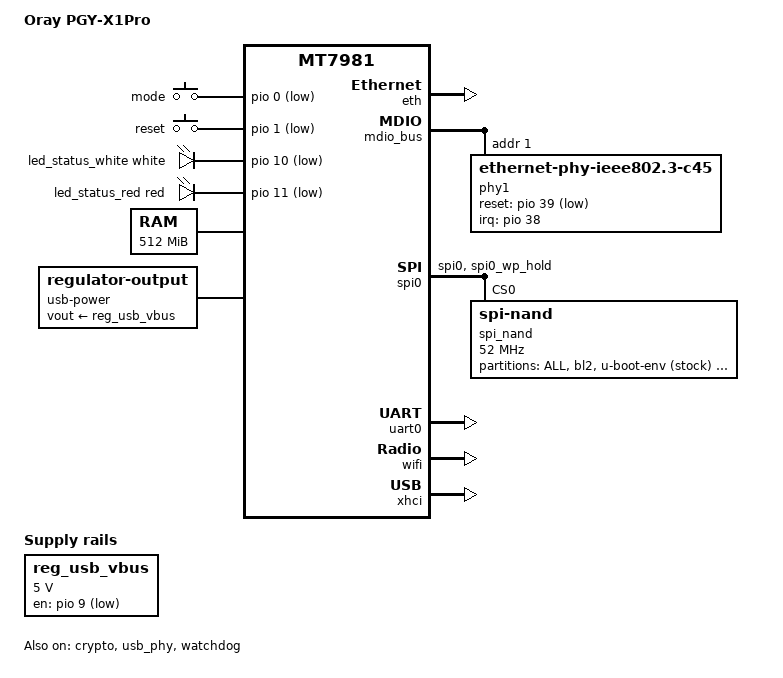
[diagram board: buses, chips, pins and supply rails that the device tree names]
// SPDX-License-Identifier: GPL-2.0-only OR MIT

/dts-v1/;
#include <dt-bindings/gpio/gpio.h>
#include <dt-bindings/input/input.h>
#include <dt-bindings/leds/common.h>

#include "mt7981b.dtsi"

/ {
	model = "Oray PGY-X1Pro";
	compatible = "oray,pgy-x1pro", "mediatek,mt7981";

	aliases {
		label-mac-device = &gmac1;

		led-boot = &led_status_red;
		led-failsafe = &led_status_red;
		led-running = &led_status_white;
		led-upgrade = &led_status_red;

		serial0 = &uart0;
	};

	chosen {
		stdout-path = "serial0:115200n8";
		bootargs = "root=/dev/fit0 rootwait";
		rootdisk = <&ubi_fit>;
	};

	gpio-keys {
		compatible = "gpio-keys";

		button-0 {
			label = "mode";
			linux,code = <BTN_0>;
			linux,input-type = <EV_SW>;
			gpios = <&pio 0 GPIO_ACTIVE_LOW>;
			debounce-interval = <60>;
		};

		button-1 {
			label = "reset";
			linux,code = <KEY_RESTART>;
			gpios = <&pio 1 GPIO_ACTIVE_LOW>;
			debounce-interval = <60>;
		};
	};

	leds {
		compatible = "gpio-leds";

		led_status_white: led-0 {
			function = LED_FUNCTION_STATUS;
			color = <LED_COLOR_ID_WHITE>;
			gpios = <&pio 10 GPIO_ACTIVE_LOW>;
		};

		led_status_red: led-1 {
			function = LED_FUNCTION_STATUS;
			color = <LED_COLOR_ID_RED>;
			gpios = <&pio 11 GPIO_ACTIVE_LOW>;
		};
	};

	memory@40000000 {
		reg = <0 0x40000000 0 0x20000000>;
		device_type = "memory";
	};

	reg_usb_vbus: regulator-usb {
		compatible = "regulator-fixed";
		regulator-boot-on;
		regulator-min-microvolt = <5000000>;
		regulator-max-microvolt = <5000000>;
		regulator-name = "usb-vbus";
		gpios = <&pio 9 GPIO_ACTIVE_LOW>;
	};

	usb-power {
		compatible = "regulator-output";
		vout-supply = <&reg_usb_vbus>;
	};
};

&crypto {
	status = "okay";
};

&eth {
	status = "okay";
	pinctrl-names = "default";
	pinctrl-0 = <&mdio_pins>;

	gmac0: mac@0 {
		compatible = "mediatek,eth-mac";
		reg = <0>;
		phy-mode = "2500base-x";
		phy-handle = <&phy1>;
		nvmem-cell-names = "mac-address";
		nvmem-cells = <&macaddr_bdinfo_9 1>;
	};

	gmac1: mac@1 {
		compatible = "mediatek,eth-mac";
		reg = <1>;
		phy-mode = "gmii";
		phy-handle = <&int_gbe_phy>;
		nvmem-cell-names = "mac-address";
		nvmem-cells = <&macaddr_bdinfo_9 0>;
	};
};

&mdio_bus {
	phy1: phy@1 {
		compatible = "ethernet-phy-ieee802.3-c45";
		reg = <1>;
		reset-assert-us = <100000>;
		reset-deassert-us = <100000>;
		reset-gpios = <&pio 39 GPIO_ACTIVE_LOW>;
		interrupts = <38 IRQ_TYPE_LEVEL_LOW>;
		interrupt-parent = <&pio>;
		realtek,aldps-enable;
	};
};

&spi0 {
	status = "okay";
	pinctrl-names = "default";
	pinctrl-0 = <&spi0_flash_pins>;

	spi_nand: flash@0 {
		compatible = "spi-nand";
		reg = <0>;

		spi-max-frequency = <52000000>;
		spi-tx-bus-width = <4>;
		spi-rx-bus-width = <4>;

		spi-cal-enable;
		spi-cal-mode = "read-data";
		spi-cal-datalen = <7>;
		spi-cal-data = /bits/ 8 <0x53 0x50 0x49 0x4e 0x41 0x4e 0x44>;
		spi-cal-addrlen = <5>;
		spi-cal-addr = /bits/ 32 <0x0 0x0 0x0 0x0 0x0>;

		partitions {
			compatible = "fixed-partitions";
			#address-cells = <1>;
			#size-cells = <1>;

			partition@0_all {
				label = "ALL";
				reg = <0x0 0x8000000>;
				read-only;
			};

			partition@0 {
				label = "bl2";
				reg = <0x0 0x100000>;
				read-only;
			};

			partition@100000 {
				label = "u-boot-env (stock)";
				reg = <0x100000 0x80000>;
				read-only;
			};

			partition@180000 {
				label = "Factory";
				reg = <0x180000 0x200000>;
				read-only;

				nvmem-layout {
					compatible = "fixed-layout";
					#address-cells = <1>;
					#size-cells = <1>;

					eeprom_factory_0: eeprom@0 {
						reg = <0x0 0x1000>;
					};
				};
			};

			partition@380000 {
				label = "fip";
				reg = <0x380000 0x200000>;
				read-only;
			};

			partition@580000 {
				label = "bdinfo";
				reg = <0x580000 0x80000>;
				read-only;

				nvmem-layout {
					compatible = "fixed-layout";
					#address-cells = <1>;
					#size-cells = <1>;

					macaddr_bdinfo_9: macaddr@9 {
						compatible = "mac-base";
						reg = <0x9 0x6>;
						#nvmem-cell-cells = <1>;
					};
				};
			};

			partition@600000 {
				label = "ubi";
				reg = <0x600000 0x7a00000>;
				compatible = "linux,ubi";

				volumes {
					ubi_fit: ubi-volume-fit {
						volname = "fit";
					};

					ubi_env: ubi-volume-ubootenv {
						volname = "ubootenv";
					};

					ubi_env2: ubi-volume-ubootenv2 {
						volname = "ubootenv2";
					};
				};
			};
		};
	};
};

&pio {
	spi0_flash_pins: spi0-pins {
		mux {
			function = "spi";
			groups = "spi0", "spi0_wp_hold";
		};
	};
};

&uart0 {
	status = "okay";
};

&ubi_env {
	nvmem-layout {
		compatible = "u-boot,env-redundant-bool-layout";
	};
};

&ubi_env2 {
	nvmem-layout {
		compatible = "u-boot,env-redundant-bool-layout";
	};
};

&usb_phy {
	status = "okay";
};

&watchdog {
	status = "okay";
};

&wifi {
	status = "okay";

	nvmem-cell-names = "eeprom";
	nvmem-cells = <&eeprom_factory_0>;
};

&xhci {
	status = "okay";
};
